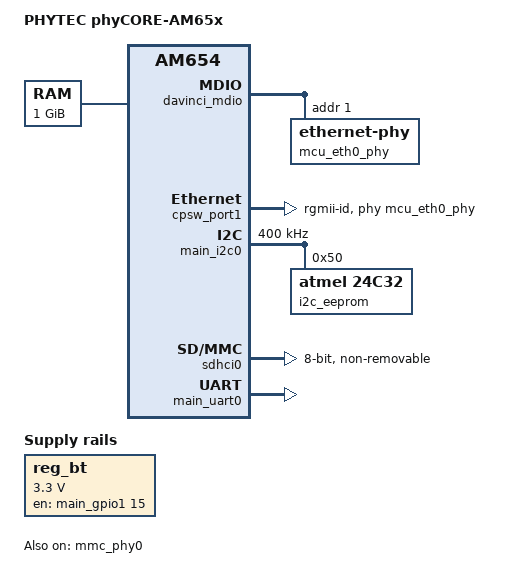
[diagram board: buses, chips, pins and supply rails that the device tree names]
// SPDX-License-Identifier: GPL-2.0
/*
 * Copyright (C) 2018 PHYTEC America, LLC - https://www.phytec.com
 */

#include "../ti/k3-am654.dtsi"
#include <dt-bindings/net/ti-dp83867.h>

/ {
	model = "PHYTEC phyCORE-AM65x";
	compatible =  "phytec,am65xx-phycore-som", "ti,am654";

	memory@80000000 {
		device_type = "memory";
		/* 2G RAM */
		reg = <0x00000000 0x40000000
		       0x00000000 0x40000000>;
	};

	reserved-memory {
		#address-cells = <2>;
		#size-cells = <2>;
		ranges;

		r5f1_dma_memory_region: r5f1-dma-memory@9b000000 {
			compatible = "shared-dma-pool";
			reg = <0 0x9b000000 0 0x100000>;
			no-map;
		};

		r5f1_memory_region: r5f1-memory@9b100000 {
			compatible = "shared-dma-pool";
			reg = <0 0x9b100000 0 0xf00000>;
			no-map;
		};

		r5f0_dma_memory_region: r5f0-dma-memory@9c000000 {
			compatible = "shared-dma-pool";
			reg = <0 0x9c000000 0 0x100000>;
			no-map;
		};

		r5f0_memory_region: r5f0-memory@9c100000 {
			compatible = "shared-dma-pool";
			reg = <0 0x9c100000 0 0x700000>;
			no-map;
		};

		secure_ddr: secure_ddr@9e800000 {
			reg = <0 0x9e800000 0 0x01800000>; /* for OP-TEE */
			alignment = <0x1000>;
			no-map;
		};
	};

	reg_bt: regulator-bt {
		status = "okay";
		compatible = "regulator-fixed";
		pinctrl-names = "default";
		pinctrl-0 = <&reg_bt_on_pin>;
		regulator-name = "bt";
		gpio = <&main_gpio1 15 GPIO_ACTIVE_HIGH>;
		startup-delay-us = <100>;
		enable-active-high;
		regulator-min-microvolt = <3300000>;
		regulator-max-microvolt = <3300000>;
		regulator-always-on;
	};

	reg_mmc1_sel_wlan: regulator-mmc1-sel-wlan {
		status = "disabled";
		compatible = "regulator-fixed";
		pinctrl-names = "default";
		pinctrl-0 = <&reg_mmc1_sel_wlan_pin>;
		regulator-name = "mmc1-wlbt";
		gpio = <&main_gpio1 89 GPIO_ACTIVE_LOW>;
		regulator-min-microvolt = <3300000>;
		regulator-max-microvolt = <3300000>;
		regulator-always-on;
	};

	reg_wlan: regulator-wlan {
		status = "disabled";
		compatible = "regulator-fixed";
		pinctrl-names = "default";
		pinctrl-0 = <&reg_wlan_on_pin>;
		regulator-name = "wlan";
		gpio = <&main_gpio1 17 GPIO_ACTIVE_HIGH>;
		startup-delay-us = <100>;
		enable-active-high;
		regulator-min-microvolt = <3300000>;
		regulator-max-microvolt = <3300000>;
		regulator-always-on;
	};
};

&main_pmx0 {
	main_mmc0_pins_default: main_mmc0_pins_default {
		pinctrl-single,pins = <
			AM65X_IOPAD(0x0188, PIN_INPUT | MUX_MODE0)		/* (D25) MMC0_DAT7 */
			AM65X_IOPAD(0x018c, PIN_INPUT | MUX_MODE0)		/* (B26) MMC0_DAT6 */
			AM65X_IOPAD(0x0190, PIN_INPUT | MUX_MODE0)		/* (A24) MMC0_DAT5 */
			AM65X_IOPAD(0x0194, PIN_INPUT | MUX_MODE0)		/* (E24) MMC0_DAT4 */
			AM65X_IOPAD(0x0198, PIN_INPUT | MUX_MODE0)		/* (A25) MMC0_DAT3 */
			AM65X_IOPAD(0x019c, PIN_INPUT | MUX_MODE0)		/* (C26) MMC0_DAT2 */
			AM65X_IOPAD(0x01a0, PIN_INPUT | MUX_MODE0)		/* (E25) MMC0_DAT1 */
			AM65X_IOPAD(0x01a4, PIN_INPUT | MUX_MODE0)		/* (A26) MMC0_DAT0 */
			AM65X_IOPAD(0x01a8, PIN_INPUT_PULLDOWN | MUX_MODE0)	/* (B25) MMC0_CLK */
			AM65X_IOPAD(0x01ac, PIN_INPUT | MUX_MODE0)		/* (B27) MMC0_CMD */
			AM65X_IOPAD(0x01b0, PIN_INPUT | MUX_MODE0)		/* (C25) MMC0_DS */
		>;
	};

	main_mmc1_pins_default: main_mmc1_pins_default {
		pinctrl-single,pins = <
			AM65X_IOPAD(0x02c4, PIN_INPUT_PULLUP | MUX_MODE0)	/* (D27) MMC1_DAT3 */
			AM65X_IOPAD(0x02c8, PIN_INPUT_PULLUP | MUX_MODE0)	/* (D26) MMC1_DAT2 */
			AM65X_IOPAD(0x02cc, PIN_INPUT_PULLUP | MUX_MODE0)	/* (E27) MMC1_DAT1 */
			AM65X_IOPAD(0x02d0, PIN_INPUT_PULLUP | MUX_MODE0)	/* (D28) MMC1_DAT0 */
			AM65X_IOPAD(0x02d4, PIN_INPUT_PULLDOWN | MUX_MODE0)	/* (C27) MMC1_CLK */
			AM65X_IOPAD(0x02d8, PIN_INPUT_PULLUP | MUX_MODE0)	/* (C28) MMC1_CMD */
			AM65X_IOPAD(0x02dc, PIN_INPUT | MUX_MODE0)		/* (B24) MMC1_SDCD */
		>;
	};

	reg_bt_on_pin: reg_bt_on_pin {
		pinctrl-single,pins = <
			AM65X_IOPAD(0x01bc, PIN_OUTPUT | MUX_MODE7)	/* (AG13) SPI0_CS0.GPIO1_15 */
		>;
	};

	reg_wlan_on_pin: reg_wlan_on_pin {
		pinctrl-single,pins = <
			AM65X_IOPAD(0x01c4, PIN_OUTPUT | MUX_MODE7)	/* (AH13) SPI0_CLK.GPIO1_17 */
		>;
	};

	main_uart0_pins_default: main_uart0_pins_default {
		pinctrl-single,pins = <
			AM65X_IOPAD(0x01e4, PIN_INPUT | MUX_MODE0)	/* (AF11) UART0_RXD */
			AM65X_IOPAD(0x01e8, PIN_OUTPUT | MUX_MODE0)	/* (AE11) UART0_TXD */
			AM65X_IOPAD(0x01ec, PIN_INPUT | MUX_MODE0)	/* (AG11) UART0_CTSn */
			AM65X_IOPAD(0x01f0, PIN_OUTPUT | MUX_MODE0)	/* (AD11) UART0_RTSn */
		>;
	};
};

&main_pmx1 {
	main_i2c0_pins_default: main_i2c0_pins_default {
		pinctrl-single,pins = <
			AM65X_IOPAD(0x0000, PIN_INPUT | MUX_MODE0)	/* (D20) I2C0_SCL */
			AM65X_IOPAD(0x0004, PIN_INPUT | MUX_MODE0)	/* (C21) I2C0_SDA */
		>;
	};

	reg_mmc1_sel_wlan_pin: reg_mmc1_sel_wlan_pin {
		pinctrl-single,pins = <
			AM65X_IOPAD(0x001c, PIN_OUTPUT | MUX_MODE7)	/* (C23) TIMER_IO1.GPIO1_89 */
		>;
	};

};

&wkup_pmx0 {
	mcu_cpsw_pins_default: mcu_cpsw_pins_default {
		pinctrl-single,pins = <
			AM65X_WKUP_IOPAD(0x0058, PIN_OUTPUT | MUX_MODE0)	/* (N4) MCU_RGMII1_TX_CTL */
			AM65X_WKUP_IOPAD(0x005c, PIN_INPUT | MUX_MODE0)		/* (N5) MCU_RGMII1_RX_CTL */
			AM65X_WKUP_IOPAD(0x0060, PIN_OUTPUT | MUX_MODE0)	/* (M2) MCU_RGMII1_TD3 */
			AM65X_WKUP_IOPAD(0x0064, PIN_OUTPUT | MUX_MODE0)	/* (M3) MCU_RGMII1_TD2 */
			AM65X_WKUP_IOPAD(0x0068, PIN_OUTPUT | MUX_MODE0)	/* (M4) MCU_RGMII1_TD1 */
			AM65X_WKUP_IOPAD(0x006c, PIN_OUTPUT | MUX_MODE0)	/* (M5) MCU_RGMII1_TD0 */
			AM65X_WKUP_IOPAD(0x0070, PIN_INPUT | MUX_MODE0)		/* (N1) MCU_RGMII1_TXC */
			AM65X_WKUP_IOPAD(0x0074, PIN_INPUT | MUX_MODE0)		/* (M1) MCU_RGMII1_RXC */
			AM65X_WKUP_IOPAD(0x0078, PIN_INPUT | MUX_MODE0)		/* (L2) MCU_RGMII1_RD3 */
			AM65X_WKUP_IOPAD(0x007c, PIN_INPUT | MUX_MODE0)		/* (L5) MCU_RGMII1_RD2 */
			AM65X_WKUP_IOPAD(0x0080, PIN_INPUT | MUX_MODE0)		/* (M6) MCU_RGMII1_RD1 */
			AM65X_WKUP_IOPAD(0x0084, PIN_INPUT | MUX_MODE0)		/* (L6) MCU_RGMII1_RD0 */
		>;
	};

	mcu_mdio_pins_default: mcu_mdio_pins_default {
		pinctrl-single,pins = <
			AM65X_WKUP_IOPAD(0x0088, PIN_INPUT | MUX_MODE0)		/* (L4) MCU_MDIO0_MDIO */
			AM65X_WKUP_IOPAD(0x008c, PIN_OUTPUT | MUX_MODE0)	/* (L1) MCU_MDIO0_MDC */
		>;
	};
};

&mcu_cpsw {
	pinctrl-names = "default";
	pinctrl-0 = <&mcu_cpsw_pins_default &mcu_mdio_pins_default>;
};

&davinci_mdio {
	mcu_eth0_phy: ethernet-phy@1 {
		reg = <1>;
		/* TODO: phy reset: TCA9555RTWR(i2c:0x21)[p04].GPIO_MCU_RGMII_RSTN */
		ti,rx-internal-delay = <DP83867_RGMIIDCTL_2_00_NS>;
		ti,tx-internal-delay = <DP83867_RGMIIDCTL_2_00_NS>;
		ti,fifo-depth = <DP83867_PHYCR_FIFO_DEPTH_4_B_NIB>;
		ti,led-0-active-low;
		ti,led-2-active-low;
	};
};

&cpsw_port1 {
	phy-mode = "rgmii-id";
	phy-handle = <&mcu_eth0_phy>;
};

&main_i2c0 {
	status = "okay";
	pinctrl-names = "default";
	pinctrl-0 = <&main_i2c0_pins_default>;
	clock-frequency = <400000>;

	i2c_eeprom: eeprom@50 {
		status = "okay";
		compatible = "atmel,24c32";
		reg = <0x50>;
		pagesize = <32>;
	};
};

&mmc_phy0 {
	status = "okay";
	ti,driver-strength-ohm = <50>;
};

&sdhci0 {
	status = "okay";
	non-removable;
	xlnx,fails-without-test-cd;
	bus-width = <8>;
	pinctrl-names = "default";
	pinctrl-0 = <&main_mmc0_pins_default>;
};

&mmc_phy1 {
	status = "disabled";
};

&sdhci1 {
	status = "disabled";
	pinctrl-names = "default";
	pinctrl-0 = <&main_mmc1_pins_default>;
};

&main_uart0 {
	status = "okay";
	pinctrl-names = "default";
	pinctrl-0 = <&main_uart0_pins_default>;
	uart-has-rtscts;
	/* disable DMA to fix BT tx timeout issues */
	/delete-property/ dmas;
	/delete-property/ dma-names;
};

&mcu_r5f0 {
	memory-region = <&r5f0_dma_memory_region>,
			<&r5f0_memory_region>;
};

&mcu_r5f1 {
	memory-region = <&r5f1_dma_memory_region>,
			<&r5f1_memory_region>;
};
